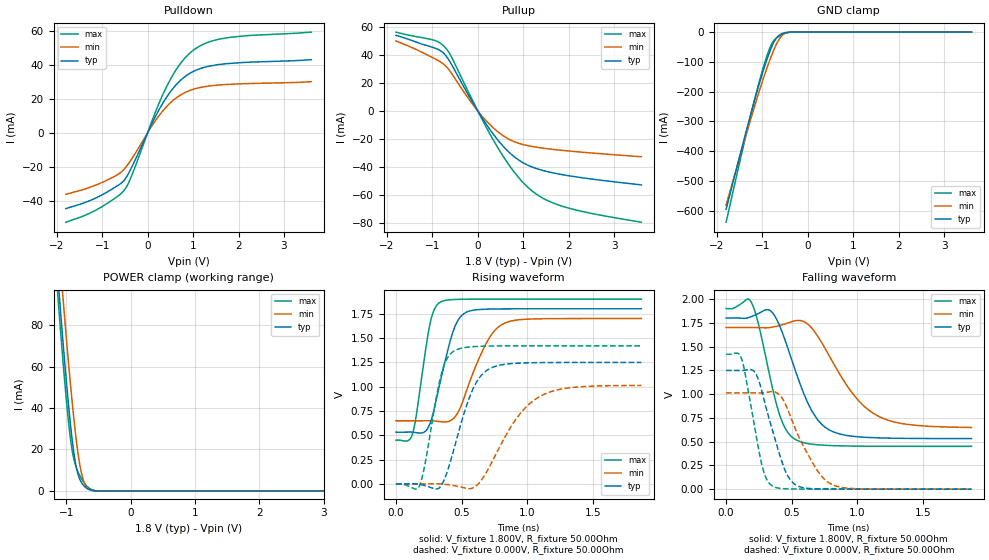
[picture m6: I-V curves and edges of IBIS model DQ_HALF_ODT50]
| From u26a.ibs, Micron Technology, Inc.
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|   MODEL DQ_HALF_ODT50 (Half-Strength IO Driver with 50 Ohm ODT Submodel)
[Model]   DQ_HALF_ODT50
Model_type   I/O
Vinl = 650.000mV
Vinh = 1.150V
Vmeas = 900.000mV
Vref = 900.000mV
Cref = 0.0pF
Rref = 25.000Ohm
|   typ   min   max
C_comp   3.150pF   2.760pF   3.510pF
| Note: C_comp increases when the ODT circuit is enabled.
[Model Spec]
| Input threshold voltage corners
Vinl   0.650V   0.600V   0.700V
Vinh   1.150V   1.100V   1.200V
| Measurement voltage corners
Vmeas   0.900V   0.850V   0.950V
| Timing spec test load voltage corners
Vref   0.900V   0.850V   0.950V
[Receiver Thresholds]
Vth   =  0.900V
Vth_min  =  0.882V
Vth_max  =  0.918V
Vinh_ac  =  0.250V
Vinh_dc  =  0.125V
Vinl_ac  = -0.250V
Vinl_dc  = -0.125V
Tslew_ac =  5.000ns |Not specified, so set to high value
Threshold_sensitivity = 0.50
Reference_supply Pullup_ref
[Voltage Range]   1.800V   1.700V   1.900V
[Pullup Reference]   1.800V   1.700V   1.900V
| Junction Temperature (Ambient temp is 25C typ, 850C min, 0C max)
[Temperature Range]   40.0   100.0   0.0
[Add Submodel]
| Submodel Name   Mode
50ohm_ODT   Non-Driving
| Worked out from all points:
|   slope of the pulldown table from 0 to 0.27 V, typ, clamps not added: 18.5 ohm
|   slope of the pullup table from 0 to 0.27 V, typ, clamps not added: 20.1 ohm
|   GND clamp passes 1 mA (typ) near -0.46 V on its own axis
|   POWER clamp passes 1 mA (typ) near -0.67 V on its own axis
|   falling waveform, V_fixture 1.800V, R_fixture 50.00Ohm: 20-80 % time 215ps typ, 313ps min, 151ps max; typ from 1.8 V to 0.532 V
|   rising waveform, V_fixture 1.800V, R_fixture 50.00Ohm: 20-80 % time 137ps typ, 194ps min, 95.5ps max; typ from 0.532 V to 1.8 V
|   rising waveform, V_fixture 0.000V, R_fixture 50.00Ohm: 20-80 % time 176ps typ, 284ps min, 115ps max; typ from 0 V to 1.25 V
|   falling waveform, V_fixture 0.000V, R_fixture 50.00Ohm: 20-80 % time 157ps typ, 214ps min, 112ps max; typ from 1.25 V to 0 V
[Pulldown]
|   Voltage   I(typ)   I(min)   I(max)
-1.8V     -44.79mA   -36.33mA   -52.82mA
-1.13V    -38.43mA   -30.78mA   -45.6mA
-695mV    -31.76mA   -25.28mA   -38.2mA
-500mV    -27.49mA   -20.98mA   -33.39mA
-375mV    -21.63mA   -16.48mA   -26.93mA
135mV     7.694mA    5.758mA    9.778mA
395mV     20.15mA    14.83mA    26.02mA
690mV     30.17mA    21.78mA    39.77mA
1.005V    36.29mA    25.75mA    48.83mA
1.345V    39.35mA    27.65mA    53.68mA
1.75V     40.92mA    28.62mA    56.2mA
3.6V      43.26mA    30.22mA    59.57mA
[GND Clamp]
|   Voltage   I(typ)   I(min)   I(max)
-1.8V     -595.2mA   -580.7mA   -638.4mA
-1.335V   -320.6mA   -332.9mA   -328.4mA
-1.185V   -235.9mA   -255.7mA   -234.1mA
-1.075V   -176.9mA   -201.2mA   -169.7mA
-955mV    -117.2mA   -144.8mA   -105.8mA
-855mV    -72.7mA    -101.5mA   -60.28mA
-775mV    -42.5mA    -69.75mA   -34.13mA
-695mV    -20.73mA   -41.97mA   -20.33mA
-625mV    -10.03mA   -22.63mA   -13.18mA
-550mV    -4.174mA   -8.991mA   -7.125mA
-380mV    -156uA     -366.2uA   -341.2uA
3.6V      0A         0A         0A
[Pullup]
|   Voltage   I(typ)   I(min)   I(max)
-1.8V     54.07mA    49.98mA    56.36mA
-950mV    45mA       37.34mA    50.42mA
-700mV    39.48mA    31.94mA    44.73mA
-560mV    32.24mA    26.07mA    37.45mA
0V        766.4nA    727.1nA    923.6nA
370mV     -17.83mA   -12.95mA   -22.36mA
780mV     -32.18mA   -21.68mA   -42.79mA
1.005V    -37.22mA   -24.13mA   -51.49mA
1.23V     -40.55mA   -25.65mA   -58.11mA
1.625V    -44.11mA   -27.42mA   -65.42mA
2.05V     -46.62mA   -28.83mA   -69.95mA
3.6V      -52.93mA   -32.79mA   -79.6mA
[POWER Clamp]
|   Voltage   I(typ)   I(min)   I(max)
-1.8V     395.7mA    409.1mA    394.8mA
-1.135V   104.1mA    125.2mA    94.99mA
-1.105V   92.18mA    113.4mA    82.83mA
-1.05V    70.96mA    92.19mA    61.49mA
-995mV    51mA       71.82mA    42.04mA
-945mV    34.63mA    54.33mA    27.27mA
-905mV    23.43mA    41.31mA    18.61mA
-865mV    14.67mA    29.53mA    13.05mA
-775mV    4.603mA    9.941mA    6.44mA
-675mV    1.074mA    1.581mA    2.13mA
-455mV    2.179uA    6.023uA    6.714uA
3.6V      0A         0A         0A
[Ramp]
R_load = 50.00Ohm
|   typ   min   max
dV/dt_r   749.208mV/175.996ps 607.441mV/283.997ps 851.604mV/114.763ps
dV/dt_f   760.814mV/215.139ps 630.691mV/312.628ps 869.793mV/150.502ps
[Falling Waveform]
V_fixture = 1.800V
V_fixture_min = 1.700V
V_fixture_max = 1.900V
R_fixture = 50.00Ohm
|   Time   V(typ)   V(min)   V(max)
0s        1.8V       1.7V       1.9V
190ps     1.813V     1.7V       1.973V
350ps     1.862V     1.703V     1.086V
430ps     1.643V     1.73V      699.7mV
530ps     1.24V      1.772V     521.6mV
670ps     785.9mV    1.665V     470.8mV
830ps     596.1mV    1.295V     457.2mV
1ns       551.7mV    946.4mV    452.7mV
1.18ns    538.8mV    754.7mV    451.1mV
1.87ns    532mV      648.9mV    450.4mV
[Rising Waveform]
V_fixture = 1.800V
V_fixture_min = 1.700V
V_fixture_max = 1.900V
R_fixture = 50.00Ohm
|   Time   V(typ)   V(min)   V(max)
0s        532mV      648.9mV    450.4mV
90ps      532.9mV    648.8mV    443.9mV
130ps     531.9mV    648.8mV    529.9mV
260ps     619.2mV    649.6mV    1.645V
340ps     1.063V     639.8mV    1.87V
430ps     1.545V     663.3mV    1.894V
490ps     1.714V     783.3mV    1.897V
680ps     1.796V     1.424V     1.9V
820ps     1.799V     1.647V     1.9V
1.87ns    1.8V       1.7V       1.9V
[Rising Waveform]
V_fixture = 0.000V
V_fixture_min = 0.000V
V_fixture_max = 0.000V
R_fixture = 50.00Ohm
|   Time   V(typ)   V(min)   V(max)
0s        -29.8uV    -43.07uV   -23.96uV
180ps     -4.264mV   -135uV     -18.86mV
220ps     -16.83mV   131.2uV    193.1mV
350ps     -6.312mV   -456.1uV   1.15V
450ps     397.6mV    -19.04mV   1.371V
590ps     984.8mV    -38.48mV   1.411V
730ps     1.195V     221.5mV    1.417V
920ps     1.24V      675.1mV    1.419V
1.11ns    1.247V     909mV      1.419V
1.87ns    1.249V     1.012V     1.419V
[Falling Waveform]
V_fixture = 0.000V
V_fixture_min = 0.000V
V_fixture_max = 0.000V
R_fixture = 50.00Ohm
|   Time   V(typ)   V(min)   V(max)
0s        1.249V     1.012V     1.419V
120ps     1.248V     1.012V     1.364V
230ps     1.207V     1.012V     559.3mV
290ps     937.7mV    1.014V     169.7mV
360ps     589.8mV    1.025V     28.1mV
430ps     269.9mV    950.7mV    6.041mV
510ps     66.37mV    696.2mV    2.058mV
690ps     3.464mV    207.9mV    499.3uV
810ps     1.187mV    47.39mV    214.2uV
1.87ns    -29.8uV    -43.07uV   -23.96uV
